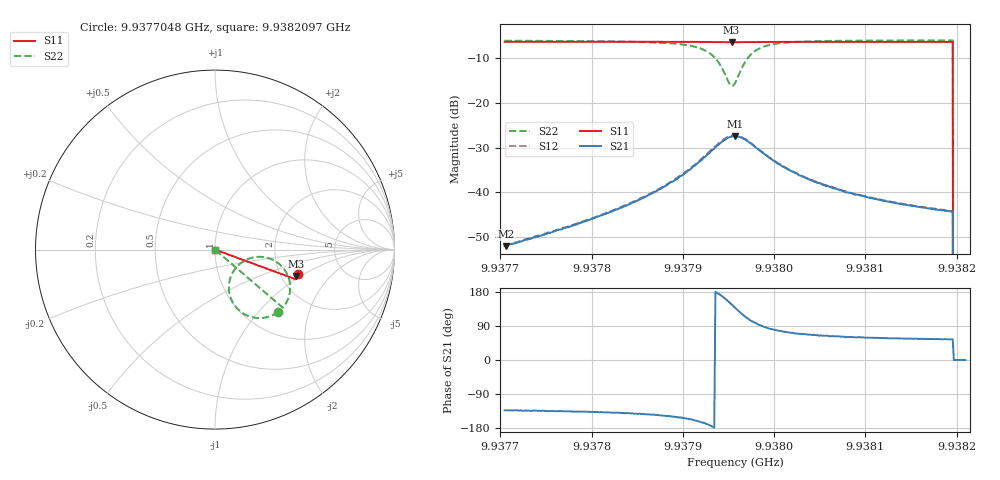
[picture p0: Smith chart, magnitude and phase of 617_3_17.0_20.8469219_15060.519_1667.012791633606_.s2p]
#  HZ  S  RI  R  50.00
! Rohde & Schwarz Vector Network Analyzer
! Rohde-Schwarz,ZNB20-2Port,1311601062101988,3.16
! Created: UTC 3/20/2024, 11:19:47 PM
! freq[Hz]  re:S11  im:S11  re:S21  im:S21  re:S12  im:S12  re:S22  im:S22
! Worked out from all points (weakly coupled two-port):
!   401 points, 9.9377048 GHz to 9.9382097 GHz, reference 50 ohm
!   highest |S21| = -27.44 dB at 9.9379572 GHz (marker M1); lowest = -52.0 dB at 9.937706 GHz (marker M2)
!   lowest |S11| = -6.5 dB at 9.9379535 GHz (marker M3), VSWR 2.82, Z = 120 - j46.2 ohm
!   |S11| at or under -10 dB: 9.9381958 GHz to end of sweep
!   |S22| runs from - to -6.1 dB; largest |S21 - S12| = 0.002
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9.93770478e9  0.4627 -0.1349  -0.00171 -0.00185  -0.00176 -0.00181  0.3517 -0.3473
9.93770604e9  0.4625 -0.1349  -0.00171 -0.00184  -0.0018 -0.00185  0.3512 -0.3475
9.93778935e9  0.4604 -0.1406  -0.00332 -0.0032  -0.00344 -0.00319  0.3326 -0.3596
9.93783606e9  0.459 -0.144  -0.00539 -0.00447  -0.00552 -0.0045  0.3124 -0.3695
9.93787393e9  0.4577 -0.1467  -0.00887 -0.00608  -0.00912 -0.00602  0.2801 -0.3788
9.93790801e9  0.456 -0.1491  -0.0164 -0.00721  -0.0171 -0.00707  0.2148 -0.3786
9.93792695e9  0.4545 -0.1503  -0.026 -0.00477  -0.0267 -0.00413  0.1418 -0.3449
9.93793831e9  0.453 -0.1504  -0.0334 0.00223  -0.0344 0.0032  0.0905 -0.2775
9.93794588e9  0.4521 -0.1499  -0.0369 0.0113  -0.0377 0.0128  0.0777 -0.1984
9.93795093e9  0.452 -0.1493  -0.0366 0.019  -0.0367 0.0209  0.0943 -0.1361
9.93795346e9  0.4519 -0.1489  -0.0352 0.0231  -0.035 0.0251  0.1125 -0.1071
9.93795724e9  0.4522 -0.1483  -0.0317 0.0283  -0.0311 0.0301  0.1499 -0.0712
9.93796355e9  0.4529 -0.148  -0.0229 0.0341  -0.0221 0.0355  0.227 -0.0413
9.93796987e9  0.4537 -0.148  -0.014 0.0353  -0.013 0.0364  0.2991 -0.0478
9.93798249e9  0.455 -0.1492  -0.00196 0.0304  -0.00116 0.0306  0.3839 -0.1067
9.93800647e9  0.4553 -0.1517  0.00479 0.0199  0.00522 0.0199  0.4189 -0.2003
9.93804182e9  0.4546 -0.1549  0.00554 0.0124  0.00577 0.0124  0.4118 -0.2615
9.93807843e9  0.4538 -0.1576  0.00501 0.00864  0.0051 0.00895  0.4005 -0.2895
9.93812639e9  0.4525 -0.161  0.00423 0.00658  0.0044 0.00661  0.3893 -0.3087
9.9381933e9  0.4506 -0.1654  0.00354 0.005  0.00369 0.00501  0.3785 -0.3233
9.93819961e9  0 0  0 0  0 0  0 0
9.93820971e9  0 0  0 0  0 0  0 0
